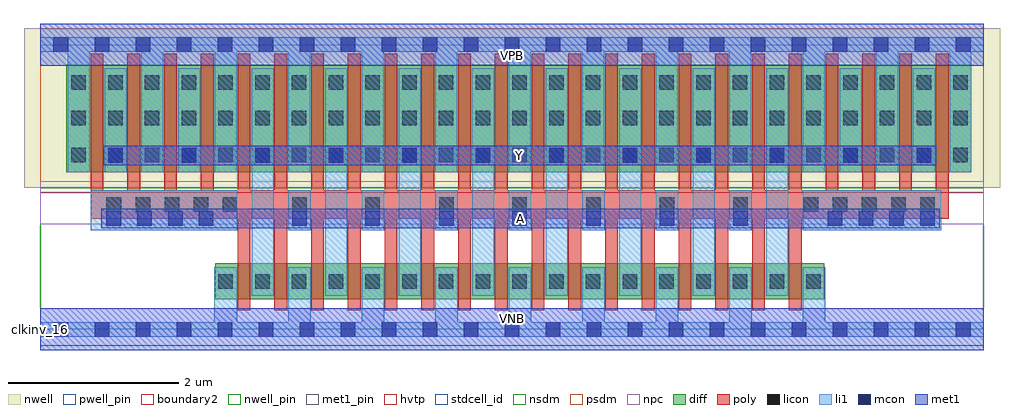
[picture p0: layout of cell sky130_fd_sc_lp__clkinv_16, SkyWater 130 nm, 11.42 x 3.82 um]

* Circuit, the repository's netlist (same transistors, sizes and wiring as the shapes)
* Copyright 2020 The SkyWater PDK Authors
*
* Licensed under the Apache License, Version 2.0 (the "License");
* you may not use this file except in compliance with the License.
* You may obtain a copy of the License at
*
*     https://www.apache.org/licenses/LICENSE-2.0
*
* Unless required by applicable law or agreed to in writing, software
* distributed under the License is distributed on an "AS IS" BASIS,
* WITHOUT WARRANTIES OR CONDITIONS OF ANY KIND, either express or implied.
* See the License for the specific language governing permissions and
* limitations under the License.
*
* SPDX-License-Identifier: Apache-2.0

.SUBCKT sky130_fd_sc_lp__clkinv_16 A VGND VNB VPB VPWR Y
*.PININFO A:I VGND:I VNB:I VPB:I VPWR:I Y:O
MMIN0 Y A VGND VNB sky130_fd_pr__nfet_01v8 m=16 w=0.42U l=0.15U mult=1 sa=0.265
+ sb=0.265 sd=0.28 area=0.063 perim=1.14
MMIP0 Y A VPWR VPB sky130_fd_pr__pfet_01v8_hvt m=24 w=1.26U l=0.15U mult=1 sa=0.265
+ sb=0.265 sd=0.28 area=0.063 perim=1.14
.ENDS sky130_fd_sc_lp__clkinv_16

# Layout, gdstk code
import gdstk
lib = gdstk.Library(unit=1e-6, precision=1e-09)
def R(c, l, rs):  # rectangles x0, y0, x1, y1
    for r in rs: c.add(gdstk.rectangle(r[:2], r[2:], *l))
def A(c, l, x, y, w, h, nx, ny, dx, dy):  # array of equal rectangles
    R(c, l, [(x+i*dx, y+j*dy, x+i*dx+w, y+j*dy+h) for i in range(nx) for j in range(ny)])
def P(c, l, *ps):  # polygons
    for p in ps: c.add(gdstk.Polygon(p, *l))
nwell_pin = (64, 16)
nwell = (64, 20)
diff = (65, 20)
poly = (66, 20)
licon = (66, 44)
li1 = (67, 20)
mcon = (67, 44)
met1_pin = (68, 16)
met1 = (68, 20)
hvtp = (78, 44)
stdcell_id = (81, 4)
nsdm = (93, 44)
psdm = (94, 20)
npc = (95, 20)
pwell_pin = (122, 16)
boundary2 = (236, 0)

sky130_fd_sc_lp__clkinv_ = lib.new_cell('sky130_fd_sc_lp__clkinv_16')
R(sky130_fd_sc_lp__clkinv_, nwell_pin, [(0,3.085,11.04,3.33)])
R(sky130_fd_sc_lp__clkinv_, nwell, [(-0.19,1.655,11.23,3.52)])
R(sky130_fd_sc_lp__clkinv_, diff, [(2.045,0.35,9.175,0.77), (0.305,1.835,10.895,3.095)])
P(sky130_fd_sc_lp__clkinv_, poly, [(10.63,3.225),(10.48,3.225),(10.48,1.625),(10.2,1.625),(10.2,3.225),(10.05,3.225),(10.05,1.625),(9.77,1.625),(9.77,3.225),(9.62,3.225),(9.62,1.625),(9.34,1.625),(9.34,3.225),(9.19,3.225),(9.19,1.625),(8.91,1.625),(8.91,3.225),(8.76,3.225),(8.76,1.625),(8.48,1.625),(8.48,3.225),(8.33,3.225),(8.33,1.625),(8.05,1.625),(8.05,3.225),(7.9,3.225),(7.9,1.625),(7.62,1.625),(7.62,3.225),(7.47,3.225),(7.47,1.625),(7.19,1.625),(7.19,3.225),(7.04,3.225),(7.04,1.625),(6.76,1.625),(6.76,3.225),(6.61,3.225),(6.61,1.625),(6.33,1.625),(6.33,3.225),(6.18,3.225),(6.18,1.625),(5.9,1.625),(5.9,3.225),(5.75,3.225),(5.75,1.625),(5.47,1.625),(5.47,3.225),(5.32,3.225),(5.32,1.625),(5.04,1.625),(5.04,3.225),(4.89,3.225),(4.89,1.625),(4.61,1.625),(4.61,3.225),(4.46,3.225),(4.46,1.625),(4.18,1.625),(4.18,3.225),(4.03,3.225),(4.03,1.625),(3.75,1.625),(3.75,3.225),(3.6,3.225),(3.6,1.625),(3.32,1.625),(3.32,3.225),(3.17,3.225),(3.17,1.625),(2.89,1.625),(2.89,3.225),(2.74,3.225),(2.74,1.625),(2.46,1.625),(2.46,3.225),(2.31,3.225),(2.31,1.625),(2.03,1.625),(2.03,3.225),(1.88,3.225),(1.88,1.625),(1.6,1.625),(1.6,3.225),(1.45,3.225),(1.45,1.625),(1.17,1.625),(1.17,3.225),(1.02,3.225),(1.02,1.625),(0.74,1.625),(0.74,3.225),(0.59,3.225),(0.59,1.295),(2.31,1.295),(2.31,0.22),(2.46,0.22),(2.46,1.295),(2.74,1.295),(2.74,0.22),(2.89,0.22),(2.89,1.295),(3.17,1.295),(3.17,0.22),(3.32,0.22),(3.32,1.295),(3.6,1.295),(3.6,0.22),(3.75,0.22),(3.75,1.295),(4.03,1.295),(4.03,0.22),(4.18,0.22),(4.18,1.295),(4.46,1.295),(4.46,0.22),(4.61,0.22),(4.61,1.295),(4.89,1.295),(4.89,0.22),(5.04,0.22),(5.04,1.295),(5.32,1.295),(5.32,0.22),(5.47,0.22),(5.47,1.295),(5.75,1.295),(5.75,0.22),(5.9,0.22),(5.9,1.295),(6.18,1.295),(6.18,0.22),(6.33,0.22),(6.33,1.295),(6.61,1.295),(6.61,0.22),(6.76,0.22),(6.76,1.295),(7.04,1.295),(7.04,0.22),(7.19,0.22),(7.19,1.295),(7.47,1.295),(7.47,0.22),(7.62,0.22),(7.62,1.295),(7.9,1.295),(7.9,0.22),(8.05,0.22),(8.05,1.295),(8.33,1.295),(8.33,0.22),(8.48,0.22),(8.48,1.295),(8.76,1.295),(8.76,0.22),(8.91,0.22),(8.91,1.295),(10.63,1.295)])
A(sky130_fd_sc_lp__clkinv_, licon, 2.085, 0.475, 0.17, 0.17, 17, 1, 0.43, 0)
A(sky130_fd_sc_lp__clkinv_, licon, 0.775, 1.375, 0.17, 0.17, 5, 1, 0.34, 0)
A(sky130_fd_sc_lp__clkinv_, licon, 6.39, 1.375, 0.17, 0.17, 3, 1, 0.86, 0)
A(sky130_fd_sc_lp__clkinv_, licon, 8.935, 1.375, 0.17, 0.17, 5, 1, 0.34, 0)
A(sky130_fd_sc_lp__clkinv_, licon, 0.365, 1.955, 0.17, 0.17, 25, 2, 0.43, 0.43)
A(sky130_fd_sc_lp__clkinv_, licon, 0.365, 2.805, 0.17, 0.17, 25, 1, 0.43, 0)
R(sky130_fd_sc_lp__clkinv_, licon, [(2.95,1.375,3.12,1.545), (3.805,1.375,3.975,1.545), (4.67,1.375,4.84,1.545), (5.525,1.375,5.695,1.545)])
A(sky130_fd_sc_lp__clkinv_, li1, 2.475, 0.395, 0.255, 2.66, 3, 1, 0.86, 0)
A(sky130_fd_sc_lp__clkinv_, li1, 5.915, 0.395, 0.255, 2.66, 4, 1, 0.86, 0)
A(sky130_fd_sc_lp__clkinv_, li1, 2.9, 1.16, 0.265, 0.465, 7, 1, 0.86, 0)
R(sky130_fd_sc_lp__clkinv_, li1, [(0.59,1.16,2.305,1.625), (8.92,1.16,10.545,1.625), (0.755,1.835,1.01,3.055), (1.615,1.835,1.87,3.055), (9.355,1.835,9.61,3.055), (10.21,1.835,10.47,3.055)])
P(sky130_fd_sc_lp__clkinv_, li1, [(11.04,0.085),(9.185,0.085),(9.185,0.725),(8.92,0.725),(8.92,0.085),(8.325,0.085),(8.325,0.725),(8.06,0.725),(8.06,0.085),(7.465,0.085),(7.465,0.725),(7.2,0.725),(7.2,0.085),(6.605,0.085),(6.605,0.725),(6.34,0.725),(6.34,0.085),(5.745,0.085),(5.745,0.725),(5.48,0.725),(5.48,0.085),(4.885,0.085),(4.885,0.725),(4.62,0.725),(4.62,0.085),(4.025,0.085),(4.025,0.725),(3.76,0.725),(3.76,0.085),(3.165,0.085),(3.165,0.725),(2.9,0.725),(2.9,0.085),(2.305,0.085),(2.305,0.725),(2.035,0.725),(2.035,0.085),(0,0.085),(0,-0.085),(11.04,-0.085)],
  [(5.31,3.055),(5.05,3.055),(5.05,1.885),(5.055,1.885),(5.055,0.395),(5.31,0.395)],
  [(11.04,3.415),(0,3.415),(0,3.245),(0.32,3.245),(0.32,1.835),(0.58,1.835),(0.58,3.245),(1.18,3.245),(1.18,1.835),(1.44,1.835),(1.44,3.245),(2.04,3.245),(2.04,1.835),(2.3,1.835),(2.3,3.245),(2.9,3.245),(2.9,1.835),(3.16,1.835),(3.16,3.245),(3.76,3.245),(3.76,1.835),(4.02,1.835),(4.02,3.245),(4.62,3.245),(4.62,1.835),(4.88,1.835),(4.88,3.245),(5.48,3.245),(5.48,1.835),(5.74,1.835),(5.74,3.245),(6.34,3.245),(6.34,1.835),(6.6,1.835),(6.6,3.245),(7.2,3.245),(7.2,1.835),(7.46,1.835),(7.46,3.245),(8.06,3.245),(8.06,1.835),(8.32,1.835),(8.32,3.245),(8.92,3.245),(8.92,1.835),(9.18,1.835),(9.18,3.245),(9.78,3.245),(9.78,1.835),(10.04,1.835),(10.04,3.245),(10.64,3.245),(10.64,1.835),(10.895,1.835),(10.895,3.245),(11.04,3.245)])
A(sky130_fd_sc_lp__clkinv_, mcon, 0.155, -0.085, 0.17, 0.17, 23, 2, 0.48, 3.33)
A(sky130_fd_sc_lp__clkinv_, mcon, 0.775, 1.21, 0.17, 0.17, 4, 1, 0.36, 0)
A(sky130_fd_sc_lp__clkinv_, mcon, 6.39, 1.21, 0.17, 0.17, 3, 1, 0.86, 0)
A(sky130_fd_sc_lp__clkinv_, mcon, 9.215, 1.21, 0.17, 0.17, 4, 1, 0.36, 0)
A(sky130_fd_sc_lp__clkinv_, mcon, 0.795, 1.95, 0.17, 0.17, 12, 1, 0.86, 0)
R(sky130_fd_sc_lp__clkinv_, mcon, [(2.95,1.21,3.12,1.38), (3.805,1.21,3.975,1.38), (4.67,1.21,4.84,1.38), (5.525,1.21,5.695,1.38)])
R(sky130_fd_sc_lp__clkinv_, met1_pin, [(0,0,11.04,0.245), (0.715,1.18,10.525,1.41), (0.735,1.92,10.485,2.15), (0,3.085,11.04,3.33)])
R(sky130_fd_sc_lp__clkinv_, met1, [(0,-0.245,11.04,0.245), (0.715,1.18,10.525,1.41), (0.735,1.92,10.485,2.15), (0,3.085,11.04,3.575)])
R(sky130_fd_sc_lp__clkinv_, hvtp, [(0,1.6,11.04,3.33)])
R(sky130_fd_sc_lp__clkinv_, stdcell_id, [(0,0,11.04,3.33)])
R(sky130_fd_sc_lp__clkinv_, nsdm, [(0,-0.19,11.04,1.655)])
R(sky130_fd_sc_lp__clkinv_, psdm, [(0,1.655,11.04,3.52)])
R(sky130_fd_sc_lp__clkinv_, npc, [(0,1.23,11.04,1.73)])
R(sky130_fd_sc_lp__clkinv_, pwell_pin, [(0,0,11.04,0.245)])
R(sky130_fd_sc_lp__clkinv_, boundary2, [(0,0,11.04,3.33)])
sky130_fd_sc_lp__clkinv_.add(gdstk.Label('VNB', (5.52,0.123), layer=64, texttype=59))
sky130_fd_sc_lp__clkinv_.add(gdstk.Label('VPB', (5.52,3.208), layer=64, texttype=5))
sky130_fd_sc_lp__clkinv_.add(gdstk.Label('clkinv_16', (0,0), layer=83, texttype=44))
sky130_fd_sc_lp__clkinv_.add(gdstk.Label('VPWR', (5.52,3.208), layer=68, texttype=5))
sky130_fd_sc_lp__clkinv_.add(gdstk.Label('VGND', (5.52,0.123), layer=68, texttype=5))
sky130_fd_sc_lp__clkinv_.add(gdstk.Label('A', (5.62,1.295), layer=68, texttype=5))
sky130_fd_sc_lp__clkinv_.add(gdstk.Label('Y', (5.61,2.035), layer=68, texttype=5))

lib.write_gds('sky130_fd_sc_lp__clkinv_16.gds')
